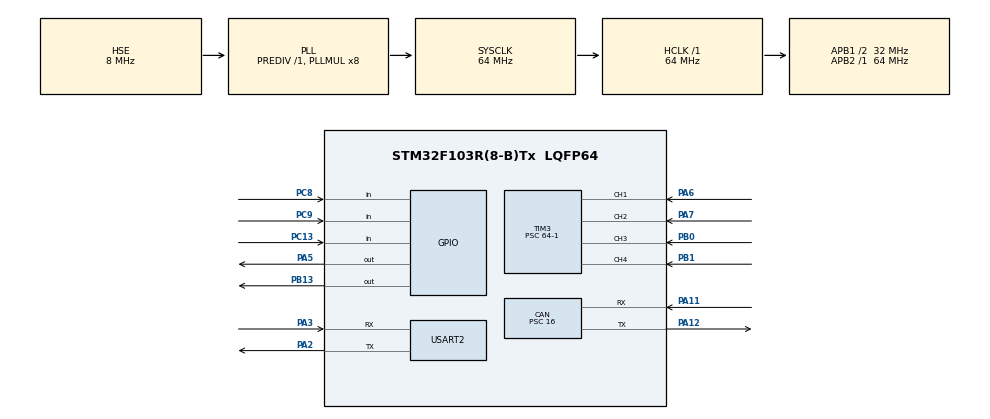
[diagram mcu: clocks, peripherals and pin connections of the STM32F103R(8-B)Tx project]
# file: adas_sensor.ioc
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CAN.BS1=CAN_BS1_13TQ
CAN.BS2=CAN_BS2_2TQ
CAN.CalculateBaudRate=125000
CAN.CalculateTimeBit=8000
CAN.CalculateTimeQuantum=500.0
CAN.Prescaler=16
FREERTOS.Queues01=sensorQueue,16,uint16_t,0,Dynamic,NULL,NULL
FREERTOS.Tasks01=ultraTask,24,128,ultraTASK,Default,NULL,Dynamic,NULL,NULL;irTask,24,128,irTASK,Default,NULL,Dynamic,NULL,NULL;transTask,24,128,transTASK,Default,NULL,Dynamic,NULL,NULL
FREERTOS.configUSE_NEWLIB_REENTRANT=1
Mcu.Family=STM32F1
Mcu.Name=STM32F103R(8-B)Tx
Mcu.Package=LQFP64
NVIC.PriorityGroup=NVIC_PRIORITYGROUP_4
NVIC.TIM3_IRQn=true\:5\:0\:false\:false\:true\:true\:true\:true\:true
NVIC.TIM4_IRQn=true\:15\:0\:false\:false\:true\:false\:false\:true\:true
NVIC.TimeBase=TIM4_IRQn
NVIC.TimeBaseIP=TIM4
NVIC.USB_HP_CAN1_TX_IRQn=true\:5\:0\:false\:false\:true\:true\:true\:true\:true
NVIC.USB_LP_CAN1_RX0_IRQn=true\:5\:0\:false\:false\:true\:true\:true\:true\:true
PA11.Mode=CAN_Activate
PA11.Signal=CAN_RX
PA12.Mode=CAN_Activate
PA12.Signal=CAN_TX
PA13.Mode=Serial_Wire
PA13.Signal=SYS_JTMS-SWDIO
PA14.Mode=Serial_Wire
PA14.Signal=SYS_JTCK-SWCLK
PA2.Mode=Asynchronous
PA2.Signal=USART2_TX
PA3.Mode=Asynchronous
PA3.Signal=USART2_RX
PA5.Signal=GPIO_Output
PA6.Signal=S_TIM3_CH1
PA7.Signal=S_TIM3_CH2
PB0.Signal=S_TIM3_CH3
PB1.Signal=S_TIM3_CH4
PB13.Signal=GPIO_Output
PC13-TAMPER-RTC.GPIO_PuPd=GPIO_PULLUP
PC13-TAMPER-RTC.Signal=GPIO_Input
PC8.Signal=GPIO_Input
PC9.Signal=GPIO_Input
PD0-OSC_IN.Mode=HSE-External-Oscillator
PD0-OSC_IN.Signal=RCC_OSC_IN
PD1-OSC_OUT.Mode=HSE-External-Oscillator
PD1-OSC_OUT.Signal=RCC_OSC_OUT
ProjectManager.HeapSize=0x200
ProjectManager.StackSize=0x400
ProjectManager.TargetToolchain=STM32CubeIDE
RCC.AHBFreq_Value=64000000
RCC.APB1CLKDivider=RCC_HCLK_DIV2
RCC.APB1Freq_Value=32000000
RCC.APB1TimFreq_Value=64000000
RCC.APB2Freq_Value=64000000
RCC.APB2TimFreq_Value=64000000
RCC.HCLKFreq_Value=64000000
RCC.PLLMUL=RCC_PLL_MUL8
RCC.PLLSourceVirtual=RCC_PLLSOURCE_HSE
RCC.SYSCLKFreq_VALUE=64000000
RCC.SYSCLKSource=RCC_SYSCLKSOURCE_PLLCLK
RCC.USBFreq_Value=64000000
SH.S_TIM3_CH1.0=TIM3_CH1,Input_Capture1_from_TI1
SH.S_TIM3_CH2.0=TIM3_CH2,Input_Capture2_from_TI2
SH.S_TIM3_CH3.0=TIM3_CH3,Input_Capture3_from_TI3
SH.S_TIM3_CH4.0=TIM3_CH4,Input_Capture4_from_TI4
TIM2.Prescaler=64-1
TIM3.Channel-Input_Capture1_from_TI1=TIM_CHANNEL_1
TIM3.Channel-Input_Capture2_from_TI2=TIM_CHANNEL_2
TIM3.Channel-Input_Capture3_from_TI3=TIM_CHANNEL_3
TIM3.Channel-Input_Capture4_from_TI4=TIM_CHANNEL_4
TIM3.Prescaler=64-1
USART2.VirtualMode=VM_ASYNC
VP_FREERTOS_VS_CMSIS_V2.Mode=CMSIS_V2
VP_SYS_VS_tim4.Mode=TIM4
VP_TIM2_VS_ClockSourceINT.Mode=Internal
VP_TIM3_VS_ClockSourceINT.Mode=Internal
board=custom

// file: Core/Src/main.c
/* USER CODE BEGIN Header */
/**
 ******************************************************************************
 * @file           : main.c
 * @brief          : Main program body
 ******************************************************************************
 * @attention
 *
 * Copyright (c) 2025 STMicroelectronics.
 * All rights reserved.
 *
 * This software is licensed under terms that can be found in the LICENSE file
 * in the root directory of this software component.
 * If no LICENSE file comes with this software, it is provided AS-IS.
 *
 ******************************************************************************
 */
/* USER CODE END Header */
#include "main.h"
#include "cmsis_os.h"
#include "can.h"
#include "tim.h"
#include "usart.h"
#include "gpio.h"

/* USER CODE BEGIN Includes */
#include "mycan.h"
#include "ir.h"
#include "ultra.h"

/* USER CODE END Includes */

void SystemClock_Config(void);
void MX_FREERTOS_Init(void);

int main(void)
{

  /* MCU Configuration--------------------------------------------------------*/

  /* Reset of all peripherals, Initializes the Flash interface and the Systick. */
  HAL_Init();

  /* Configure the system clock */
  SystemClock_Config();

  /* Initialize all configured peripherals */
  MX_GPIO_Init();
  MX_USART2_UART_Init();
  MX_CAN_Init();
  MX_TIM2_Init();
  MX_TIM3_Init();

  /* Init scheduler */
  osKernelInitialize();

  /* Call init function for freertos objects (in cmsis_os2.c) */
  MX_FREERTOS_Init();

  /* Start scheduler */
  osKernelStart();

  /* We should never get here as control is now taken by the scheduler */

  /* Infinite loop */
	while (1)
	{

	}
}

void SystemClock_Config(void)
{
  RCC_OscInitTypeDef RCC_OscInitStruct = {0};
  RCC_ClkInitTypeDef RCC_ClkInitStruct = {0};

  /** Initializes the RCC Oscillators according to the specified parameters
  * in the RCC_OscInitTypeDef structure.
  */
  RCC_OscInitStruct.OscillatorType = RCC_OSCILLATORTYPE_HSE;
  RCC_OscInitStruct.HSEState = RCC_HSE_ON;
  RCC_OscInitStruct.HSEPredivValue = RCC_HSE_PREDIV_DIV1;
  RCC_OscInitStruct.HSIState = RCC_HSI_ON;
  RCC_OscInitStruct.PLL.PLLState = RCC_PLL_ON;
  RCC_OscInitStruct.PLL.PLLSource = RCC_PLLSOURCE_HSE;
  RCC_OscInitStruct.PLL.PLLMUL = RCC_PLL_MUL8;
  if (HAL_RCC_OscConfig(&RCC_OscInitStruct) != HAL_OK)
  {
    Error_Handler();
  }

  /** Initializes the CPU, AHB and APB buses clocks
  */
  RCC_ClkInitStruct.ClockType = RCC_CLOCKTYPE_HCLK|RCC_CLOCKTYPE_SYSCLK
                              |RCC_CLOCKTYPE_PCLK1|RCC_CLOCKTYPE_PCLK2;
  RCC_ClkInitStruct.SYSCLKSource = RCC_SYSCLKSOURCE_PLLCLK;
  RCC_ClkInitStruct.AHBCLKDivider = RCC_SYSCLK_DIV1;
  RCC_ClkInitStruct.APB1CLKDivider = RCC_HCLK_DIV2;
  RCC_ClkInitStruct.APB2CLKDivider = RCC_HCLK_DIV1;

  if (HAL_RCC_ClockConfig(&RCC_ClkInitStruct, FLASH_LATENCY_2) != HAL_OK)
  {
    Error_Handler();
  }
}

void HAL_TIM_PeriodElapsedCallback(TIM_HandleTypeDef *htim)
{
  if (htim->Instance == TIM4)
  {
    HAL_IncTick();
  }
}

void Error_Handler(void)
{
	__disable_irq();
	while (1)
	{
	}
}

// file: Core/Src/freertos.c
/* USER CODE BEGIN Header */
/**
 ******************************************************************************
 * File Name          : freertos.c
 * Description        : Code for freertos applications
 ******************************************************************************
 * @attention
 *
 * Copyright (c) 2025 STMicroelectronics.
 * All rights reserved.
 *
 * This software is licensed under terms that can be found in the LICENSE file
 * in the root directory of this software component.
 * If no LICENSE file comes with this software, it is provided AS-IS.
 *
 ******************************************************************************
 */
/* USER CODE END Header */

#include "FreeRTOS.h"
#include "task.h"
#include "main.h"
#include "cmsis_os.h"

/* USER CODE BEGIN Includes */

#include "usart.h"
#include "mycan.h"
#include "ir.h"
#include "ultra.h"

/* USER CODE END Includes */

/* USER CODE BEGIN PM */

int _write(int file, char* p, int len)
{
	HAL_UART_Transmit(&huart2, p, len, 10);
	return len;
}

/* USER CODE END PM */

/* USER CODE BEGIN Variables */

extern ULTRA ultra[ULTRA_NUM];

//uint8_t TxData_ultra[8];
//uint8_t TxData_ir[8];

typedef enum
{
	SENSOR_ULTRA,
	SENSOR_IR
} SensorType;

typedef struct
{
	SensorType type;
	uint8_t data[8];
} SensorPacket;

/* USER CODE END Variables */
/* Definitions for ultraTask */
osThreadId_t ultraTaskHandle;
const osThreadAttr_t ultraTask_attributes = {
		.name = "ultraTask",
		.stack_size = 128 * 4,
		.priority = (osPriority_t) osPriorityNormal,
};
/* Definitions for irTask */
osThreadId_t irTaskHandle;
const osThreadAttr_t irTask_attributes = {
		.name = "irTask",
		.stack_size = 128 * 4,
		.priority = (osPriority_t) osPriorityNormal,
};
/* Definitions for transTask */
osThreadId_t transTaskHandle;
const osThreadAttr_t transTask_attributes = {
		.name = "transTask",
		.stack_size = 128 * 4,
		.priority = (osPriority_t) osPriorityNormal,
};
/* Definitions for sensorQueue */
osMessageQueueId_t sensorQueueHandle;
const osMessageQueueAttr_t sensorQueue_attributes = {
		.name = "sensorQueue"
};

void ultraTASK(void *argument);
void irTASK(void *argument);
void transTASK(void *argument);

void MX_FREERTOS_Init(void); /* (MISRA C 2004 rule 8.1) */

void MX_FREERTOS_Init(void) {
	/* USER CODE BEGIN Init */

	printf("STM32 start_sensor part!!\n");

	// 초음파 초기화
	ultra_init();

	/* CAN 설정 부분 */
	// 필터 설정
	filter_INIT(0x0000, 0x0000);

	// can 채널에 필터 적용
	HAL_CAN_ConfigFilter(&hcan, &canFilter);

	// 송수신을 하기 위해 Normal 모드 진입
	HAL_CAN_Start(&hcan);

	/* USER CODE END Init */

	/* Create the queue(s) */
	/* creation of sensorQueue */
	sensorQueueHandle = osMessageQueueNew (16, sizeof(SensorPacket), &sensorQueue_attributes);

	/* Create the thread(s) */
	/* creation of ultraTask */
	ultraTaskHandle = osThreadNew(ultraTASK, NULL, &ultraTask_attributes);

	/* creation of irTask */
	irTaskHandle = osThreadNew(irTASK, NULL, &irTask_attributes);

	/* creation of transTask */
	transTaskHandle = osThreadNew(transTASK, NULL, &transTask_attributes);

}

void ultraTASK(void *argument)
{
	/* USER CODE BEGIN ultraTASK */
	SensorPacket packet;

	/* Infinite loop */
	for(;;)
	{
		memset(packet.data, 0, sizeof(packet.data));
		HCSR04_Trigger(); // 초음파 측정 시작

		printf("fst: %dcm, snd: %dcm, thd: %dcm, fth: %dcm\n",
				ultra[0].distance, ultra[1].distance, ultra[2].distance, ultra[3].distance);

		//		TxData_ultra[0] = ultra[0].distance;
		//		TxData_ultra[1] = ultra[1].distance;
		//		TxData_ultra[2] = ultra[2].distance;
		//		TxData_ultra[3] = ultra[3].distance;

		packet.type = SENSOR_ULTRA;
		packet.data[0] = ultra[0].distance;
		packet.data[1] = ultra[1].distance;
		packet.data[2] = ultra[2].distance;
		packet.data[3] = ultra[3].distance;

		// osMessageQueuePut - 데이터를 큐에 넣는 함수

		osStatus_t status;
		if((status = osMessageQueuePut(sensorQueueHandle, &packet, 0, 0)) != osOK)
		{
			if(status == osErrorResource)
				printf("Queue Full: sensorQueue is full!\n");
			else
				printf("Queue Error: osMessageQueuePut failed with code %d\n", status);
		}

		osDelay(200);
	}
	/* USER CODE END ultraTASK */
}

void irTASK(void *argument)
{
	/* USER CODE BEGIN irTASK */
	SensorPacket packet;

	/* Infinite loop */
	for(;;)
	{
		/* PC8 - 왼, PC9 - 오 (검은색 on, 흰색 off)*/

//		// 왼쪽 IR
//		if(HAL_GPIO_ReadPin(GPIOC, GPIO_PIN_8) == 1)
//		{
//			TxData_ir[0] = 1;
//			printf("Left_ON\n");
//		}
//		else
//		{
//			TxData_ir[0] = 0;
//			printf("Left_OFF\n");
//		}
//
//		// 오른쪽 IR
//		if(HAL_GPIO_ReadPin(GPIOC, GPIO_PIN_9) == 1)
//		{
//			TxData_ir[1] = 1;
//			printf("Right_ON\n");
//		}
//		else
//		{
//			TxData_ir[1] = 0;
//			printf("Right_OFF\n");
//		}

		memset(packet.data, 0, sizeof(packet.data));

		packet.type = SENSOR_IR;
		// 검은색 - 1, 이외 - 0
		packet.data[0] = HAL_GPIO_ReadPin(GPIOC, GPIO_PIN_8) ? 1 : 0;
		packet.data[1] = HAL_GPIO_ReadPin(GPIOC, GPIO_PIN_9) ? 1 : 0;

		osStatus_t status;
		if((status = osMessageQueuePut(sensorQueueHandle, &packet, 0, 0)) != osOK)
		{
			if(status == osErrorResource)
				printf("Queue Full: sensorQueue is full!\n");
			else
				printf("Queue Error: osMessageQueuePut failed with code %d\n", status);
		}

		osDelay(200);
	}
	/* USER CODE END irTASK */
}

void transTASK(void *argument)
{
	/* USER CODE BEGIN transTASK */
	SensorPacket packet;

	/* Infinite loop */
	for(;;)
	{
		if(osMessageQueueGet(sensorQueueHandle, &packet, NULL, osWaitForever) == osOK)
		{
			if(packet.type == SENSOR_ULTRA)
				Can_SEND(0x102, 4, packet.data);  // 초음파
			else if(packet.type == SENSOR_IR)
				Can_SEND(0x106, 2, packet.data);  // IR
			printf("Packet Send!\n");
		}

	}
	/* USER CODE END transTASK */
}
